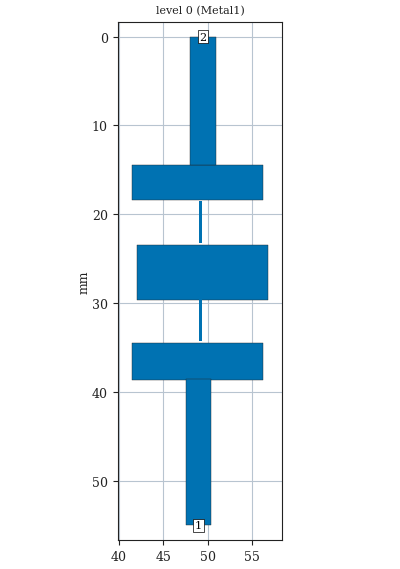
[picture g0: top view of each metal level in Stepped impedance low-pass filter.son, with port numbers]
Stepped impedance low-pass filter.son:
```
FTYP SONPROJ 19 ! Sonnet Project File
VER 18.53
HEADER
LIC SL66199d8c
DAT 05/06/2024 03:18:13
BUILT_BY_CREATED xgeom 18.53-Lite 05/06/2024 01:21:57
BUILT_BY_SAVED sonnet 18.53-Lite
MDATE 05/06/2024 03:07:03
HDATE 05/06/2024 03:07:03
END HEADER
DIM
ANG DEG
CAP PF
CON /OH
FREQ GHZ
IND NH
LNG MM
RES OH
END DIM
CONTROL
VARSWP
OPTIONS  -d
SPEED 0
CACHE_ABS 2
Q_ACC N
END CONTROL
GEO
TMET "Free Space" 0 FREESPACE 376.7303136 0 0 0
BMET "Lossless" 0 SUP 0 0 0 0
BOX 1 100 55 400 220 20 0
      2 1 1 0 0 0 0 "Air"
      1.5 4.4 1 0.02 0 0 0 "FR-4"
TECHLAY METAL Metal1 <UNSPECIFIED> -2 -65534 
0 0 -1 N 9 1 1 100 100 0 0 0 Y
END
END
DIM STD YDIR 1
POS 2.199932083 3.606414943
NOM 3.869578218
REF1 POLY 31 1
1
REF2 POLY 31 1
2
END
DIM STD XDIR 1
POS 14.46528255 -1.331698223
NOM 14.73440705
REF1 POLY 31 1
0
REF2 POLY 31 1
1
END
DIM STD YDIR 1
POS 2.899264601 3.995297884
NOM 4.758567054
REF1 POLY 37 1
1
REF2 POLY 37 1
2
END
DIM STD XDIR 1
POS 0.7010502204 -1.413064682
NOM 0.382910481
REF1 POLY 37 1
3
REF2 POLY 37 1
2
END
DIM STD YDIR 1
POS 1.505143567 6.029192185
NOM 6.194160005
REF1 POLY 42 1
1
REF2 POLY 42 1
2
END
DIM STD XDIR 1
POS 14.60188311 -1.444395558
NOM 14.73440705
REF1 POLY 42 1
3
REF2 POLY 42 1
2
END
DIM STD XDIR 1
POS 0.9022656324 1.798994547
NOM 0.382910481
REF1 POLY 47 1
0
REF2 POLY 47 1
1
END
DIM STD YDIR 1
POS -0.8222979593 4.991271834
NOM 4.758567054
REF1 POLY 47 1
0
REF2 POLY 47 1
3
END
DIM STD YDIR 1
POS 1.796357397 3.66443641
NOM 4.153063802
REF1 POLY 52 1
1
REF2 POLY 52 1
2
END
DIM STD XDIR 1
POS 14.04852468 -1.497037297
NOM 14.73440705
REF1 POLY 52 1
3
REF2 POLY 52 1
2
END
DIM STD XDIR 1
POS 3.18286962 20.753905
NOM 2.867789
REF1 POLY 97 1
0
REF2 POLY 97 1
1
END
DIM STD YDIR 1
POS 8.699701733 123.4516112
NOM 14.5
REF1 POLY 97 1
1
REF2 POLY 97 1
2
END
DIM STD XDIR 1
POS 3.18286962 20.753905
NOM 2.867789
REF1 POLY 100 1
0
REF2 POLY 100 1
1
END
DIM STD YDIR 1
POS 8.699701733 123.4516112
NOM 16.5
REF1 POLY 100 1
1
REF2 POLY 100 1
2
END
LORGN 0 6.35 U 
POR1 BOX
POLY 97 1
0
2 50 0 0 0 49.4338945 0 
POR1 BOX
POLY 100 1
2
1 50 0 0 0 48.9338945 55 
NUM 7
0 5 -1 N 31 1 1 100 100 0 0 0 Y
TLAYNAM Metal1 INH
41.5 14.5
56.23440705 14.5
56.23440705 18.36957822
41.5 18.36957822
41.5 14.5
END
0 5 -1 N 37 1 1 100 100 0 0 0 Y
TLAYNAM Metal1 INH
49 18.5
49.38291048 18.5
49.38291048 23.25856705
49 23.25856705
49 18.5
END
0 5 -1 N 42 1 1 100 100 0 0 0 Y
TLAYNAM Metal1 INH
42 23.5
56.73440705 23.5
56.73440705 29.69416001
42 29.69416001
42 23.5
END
0 5 -1 N 47 1 1 100 100 0 0 0 Y
TLAYNAM Metal1 INH
49 29.5
49.38291048 29.5
49.38291048 34.25856705
49 34.25856705
49 29.5
END
0 5 -1 N 52 1 1 100 100 0 0 0 Y
TLAYNAM Metal1 INH
41.5 34.5
56.23440705 34.5
56.23440705 38.6530638
41.5 38.6530638
41.5 34.5
END
0 5 -1 N 97 1 1 100 100 0 0 0 Y
TLAYNAM Metal1 INH
48 0
50.867789 0
50.867789 14.5
48 14.5
48 0
END
0 5 -1 N 100 1 1 100 100 0 0 0 Y
TLAYNAM Metal1 INH
47.5 38.5
50.367789 38.5
50.367789 55
47.5 55
47.5 38.5
END
END GEO
OPT
MAX 100
END OPT
VARSWP
ENABLED Y
FREQ Y AY ABS_ENTRY 0.0 6.0 -1 300 
END
END VARSWP
```
